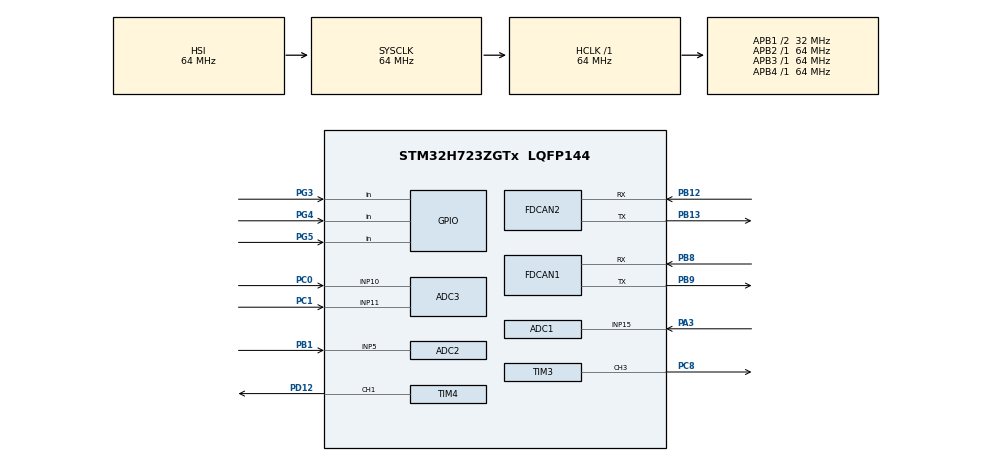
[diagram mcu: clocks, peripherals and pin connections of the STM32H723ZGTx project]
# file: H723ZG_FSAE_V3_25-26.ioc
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ADC1.Channel-0\#ChannelRegularConversion=ADC_CHANNEL_15
ADC1.ClockPrescaler=ADC_CLOCK_ASYNC_DIV12
ADC1.ContinuousConvMode=ENABLE
ADC1.ConversionDataManagement=ADC_CONVERSIONDATA_DMA_CIRCULAR
ADC1.NbrOfConversionFlag=1
ADC1.OffsetNumber-0\#ChannelRegularConversion=ADC_OFFSET_NONE
ADC1.OffsetSignedSaturation-0\#ChannelRegularConversion=DISABLE
ADC1.Rank-0\#ChannelRegularConversion=1
ADC1.Resolution=ADC_RESOLUTION_16B
ADC1.SamplingTime-0\#ChannelRegularConversion=ADC_SAMPLETIME_387CYCLES_5
ADC1.master=1
ADC2.Channel-0\#ChannelRegularConversion=ADC_CHANNEL_5
ADC2.ClockPrescaler=ADC_CLOCK_ASYNC_DIV12
ADC2.ContinuousConvMode=ENABLE
ADC2.ConversionDataManagement=ADC_CONVERSIONDATA_DMA_CIRCULAR
ADC2.NbrOfConversion=1
ADC2.NbrOfConversionFlag=1
ADC2.OffsetNumber-0\#ChannelRegularConversion=ADC_OFFSET_NONE
ADC2.OffsetSignedSaturation-0\#ChannelRegularConversion=DISABLE
ADC2.Rank-0\#ChannelRegularConversion=1
ADC2.Resolution=ADC_RESOLUTION_16B
ADC2.SamplingTime-0\#ChannelRegularConversion=ADC_SAMPLETIME_387CYCLES_5
ADC3.Channel-0\#ChannelRegularConversion=ADC_CHANNEL_10
ADC3.Channel-1\#ChannelRegularConversion=ADC_CHANNEL_11
ADC3.ClockPrescaler=ADC_CLOCK_ASYNC_DIV12
ADC3.ContinuousConvMode=ENABLE
ADC3.ConversionDataManagement=ADC_CONVERSIONDATA_DMA_CIRCULAR
ADC3.DMAContinuousRequests=ENABLE
ADC3.NbrOfConversion=2
ADC3.NbrOfConversionFlag=1
ADC3.OffsetNumber-0\#ChannelRegularConversion=ADC_OFFSET_NONE
ADC3.OffsetNumber-1\#ChannelRegularConversion=ADC_OFFSET_NONE
ADC3.OffsetSign-0\#ChannelRegularConversion=ADC3_OFFSET_SIGN_NEGATIVE
ADC3.OffsetSign-1\#ChannelRegularConversion=ADC3_OFFSET_SIGN_NEGATIVE
ADC3.Rank-0\#ChannelRegularConversion=1
ADC3.Rank-1\#ChannelRegularConversion=2
ADC3.SamplingTime-0\#ChannelRegularConversion=ADC3_SAMPLETIME_640CYCLES_5
ADC3.SamplingTime-1\#ChannelRegularConversion=ADC3_SAMPLETIME_640CYCLES_5
CORTEX_M7.default_mode_Activation=1
Dma.ADC1.0.Direction=DMA_PERIPH_TO_MEMORY
Dma.ADC1.0.EventEnable=DISABLE
Dma.ADC1.0.FIFOMode=DMA_FIFOMODE_DISABLE
Dma.ADC1.0.Instance=DMA1_Stream0
Dma.ADC1.0.MemDataAlignment=DMA_MDATAALIGN_HALFWORD
Dma.ADC1.0.MemInc=DMA_MINC_ENABLE
Dma.ADC1.0.Mode=DMA_CIRCULAR
Dma.ADC1.0.PeriphDataAlignment=DMA_PDATAALIGN_HALFWORD
Dma.ADC1.0.PeriphInc=DMA_PINC_DISABLE
Dma.ADC1.0.Polarity=HAL_DMAMUX_REQ_GEN_RISING
Dma.ADC1.0.Priority=DMA_PRIORITY_LOW
Dma.ADC1.0.RequestNumber=1
Dma.ADC1.0.SignalID=NONE
Dma.ADC1.0.SyncEnable=DISABLE
Dma.ADC1.0.SyncPolarity=HAL_DMAMUX_SYNC_NO_EVENT
Dma.ADC1.0.SyncRequestNumber=1
Dma.ADC1.0.SyncSignalID=NONE
Dma.ADC2.1.Direction=DMA_PERIPH_TO_MEMORY
Dma.ADC2.1.EventEnable=DISABLE
Dma.ADC2.1.FIFOMode=DMA_FIFOMODE_DISABLE
Dma.ADC2.1.Instance=DMA1_Stream1
Dma.ADC2.1.MemDataAlignment=DMA_MDATAALIGN_HALFWORD
Dma.ADC2.1.MemInc=DMA_MINC_ENABLE
Dma.ADC2.1.Mode=DMA_CIRCULAR
Dma.ADC2.1.PeriphDataAlignment=DMA_PDATAALIGN_HALFWORD
Dma.ADC2.1.PeriphInc=DMA_PINC_DISABLE
Dma.ADC2.1.Polarity=HAL_DMAMUX_REQ_GEN_RISING
Dma.ADC2.1.Priority=DMA_PRIORITY_LOW
Dma.ADC2.1.RequestNumber=1
Dma.ADC2.1.SignalID=NONE
Dma.ADC2.1.SyncEnable=DISABLE
Dma.ADC2.1.SyncPolarity=HAL_DMAMUX_SYNC_NO_EVENT
Dma.ADC2.1.SyncRequestNumber=1
Dma.ADC2.1.SyncSignalID=NONE
Dma.ADC3.2.Direction=DMA_PERIPH_TO_MEMORY
Dma.ADC3.2.EventEnable=DISABLE
Dma.ADC3.2.FIFOMode=DMA_FIFOMODE_DISABLE
Dma.ADC3.2.Instance=DMA1_Stream2
Dma.ADC3.2.MemDataAlignment=DMA_MDATAALIGN_HALFWORD
Dma.ADC3.2.MemInc=DMA_MINC_ENABLE
Dma.ADC3.2.Mode=DMA_CIRCULAR
Dma.ADC3.2.PeriphDataAlignment=DMA_PDATAALIGN_HALFWORD
Dma.ADC3.2.PeriphInc=DMA_PINC_DISABLE
Dma.ADC3.2.Polarity=HAL_DMAMUX_REQ_GEN_RISING
Dma.ADC3.2.Priority=DMA_PRIORITY_LOW
Dma.ADC3.2.RequestNumber=1
Dma.ADC3.2.SignalID=NONE
Dma.ADC3.2.SyncEnable=DISABLE
Dma.ADC3.2.SyncPolarity=HAL_DMAMUX_SYNC_NO_EVENT
Dma.ADC3.2.SyncRequestNumber=1
Dma.ADC3.2.SyncSignalID=NONE
Dma.Request0=ADC1
Dma.Request1=ADC2
Dma.Request2=ADC3
FDCAN1.AutoRetransmission=ENABLE
FDCAN1.CalculateBaudRateNominal=500000
FDCAN1.CalculateTimeBitNominal=2000
FDCAN1.CalculateTimeQuantumNominal=125.0
FDCAN1.ExtFiltersNbr=1
FDCAN1.Mode=FDCAN_MODE_NORMAL
FDCAN1.NominalPrescaler=6
FDCAN1.NominalSyncJumpWidth=13
FDCAN1.NominalTimeSeg1=12
FDCAN1.NominalTimeSeg2=3
FDCAN1.RxFifo0ElmtsNbr=8
FDCAN1.RxFifo1ElmtsNbr=8
FDCAN1.StdFiltersNbr=1
FDCAN1.TxFifoQueueElmtsNbr=8
FDCAN2.AutoRetransmission=ENABLE
FDCAN2.CalculateBaudRateNominal=500000
FDCAN2.CalculateTimeBitNominal=2000
FDCAN2.CalculateTimeQuantumNominal=125.0
FDCAN2.MessageRAMOffset=1920
FDCAN2.Mode=FDCAN_MODE_NORMAL
FDCAN2.NominalPrescaler=6
FDCAN2.NominalSyncJumpWidth=13
FDCAN2.NominalTimeSeg1=12
FDCAN2.NominalTimeSeg2=3
FDCAN2.RxFifo0ElmtsNbr=8
FDCAN2.RxFifo1ElmtsNbr=8
FDCAN2.StdFiltersNbr=1
FDCAN2.TxFifoQueueElmtsNbr=8
Mcu.Family=STM32H7
Mcu.Name=STM32H723ZGTx
Mcu.Package=LQFP144
NUCLEO-H723ZG.VCP=true
NVIC.DMA1_Stream0_IRQn=true\:0\:0\:false\:false\:true\:false\:true\:true
NVIC.DMA1_Stream1_IRQn=true\:0\:0\:false\:false\:true\:false\:true\:true
NVIC.DMA1_Stream2_IRQn=true\:0\:0\:false\:false\:true\:false\:true\:true
NVIC.FDCAN1_IT0_IRQn=true\:0\:0\:false\:false\:true\:true\:true\:true
NVIC.FDCAN1_IT1_IRQn=true\:0\:0\:false\:false\:true\:true\:true\:true
NVIC.FDCAN2_IT0_IRQn=true\:0\:0\:false\:false\:true\:true\:true\:true
NVIC.FDCAN2_IT1_IRQn=true\:0\:0\:false\:false\:true\:true\:true\:true
NVIC.PriorityGroup=NVIC_PRIORITYGROUP_4
PA13(JTMS/SWDIO).GPIO_Label=SWDIO
PA13(JTMS/SWDIO).Signal=DEBUG_JTMS-SWDIO
PA14(JTCK/SWCLK).GPIO_Label=SWCLK
PA14(JTCK/SWCLK).Signal=DEBUG_JTCK-SWCLK
PA3.GPIO_Pd=GPIO_PULLDOWN
PA3.Signal=ADCx_INP15
PB1.GPIO_Pd=GPIO_PULLDOWN
PB1.Signal=ADCx_INP5
PB12.Mode=FDCAN_Activate
PB12.Signal=FDCAN2_RX
PB13.Mode=FDCAN_Activate
PB13.Signal=FDCAN2_TX
PB8.Mode=FDCAN_Activate
PB8.Signal=FDCAN1_RX
PB9.Mode=FDCAN_Activate
PB9.Signal=FDCAN1_TX
PC0.GPIO_Pd=GPIO_PULLDOWN
PC0.Signal=ADCx_INP10
PC1.GPIO_Pd=GPIO_PULLDOWN
PC1.Signal=ADCx_INP11
PC14-OSC32_IN.Signal=RCC_OSC32_IN
PC15-OSC32_OUT.Signal=RCC_OSC32_OUT
PC8.Signal=S_TIM3_CH3
PD12.Signal=S_TIM4_CH1
PD8.Signal=USART3_TX
PD9.Signal=USART3_RX
PG3.Signal=GPIO_Input
PG4.Signal=GPIO_Input
PG5.Signal=GPIO_Input
PH0-OSC_IN.Mode=HSE-External-Oscillator
PH0-OSC_IN.Signal=RCC_OSC_IN
PH1-OSC_OUT.Mode=HSE-External-Oscillator
PH1-OSC_OUT.Signal=RCC_OSC_OUT
ProjectManager.HeapSize=0x200
ProjectManager.StackSize=0x400
ProjectManager.TargetToolchain=CMake
RCC.ADCFreq_Value=38400000
RCC.APB1Freq_Value=32000000
RCC.APB2Freq_Value=64000000
RCC.APB3Freq_Value=64000000
RCC.APB4Freq_Value=64000000
RCC.CortexFreq_Value=64000000
RCC.D2PPRE1=RCC_APB1_DIV2
RCC.DIVM1=4
RCC.DIVM2=4
RCC.DIVN1=12
RCC.DIVN2=12
RCC.DIVP1=1
RCC.DIVP2=5
RCC.DIVQ1=4
RCC.HCLKFreq_Value=64000000
RCC.HSE_VALUE=8000000
RCC.PLL2FRACN=0
RCC.PLLFRACN=0
RCC.SYSCLKFreq_VALUE=64000000
RCC.USBCLockSelection=RCC_USBCLKSOURCE_HSI48
RCC.USBFreq_Value=48000000
SH.ADCx_INP10.0=ADC3_INP10,IN10-Single-Ended
SH.ADCx_INP11.0=ADC3_INP11,IN11-Single-Ended
SH.ADCx_INP15.0=ADC1_INP15,IN15-Single-Ended
SH.ADCx_INP5.0=ADC2_INP5,IN5-Single-Ended
SH.S_TIM3_CH3.0=TIM3_CH3,PWM Generation3 CH3
SH.S_TIM4_CH1.0=TIM4_CH1,PWM Generation1 CH1
TIM3.AutoReloadPreload=TIM_AUTORELOAD_PRELOAD_ENABLE
TIM3.Channel-PWM\ Generation3\ CH3=TIM_CHANNEL_3
TIM4.AutoReloadPreload=TIM_AUTORELOAD_PRELOAD_ENABLE
TIM4.Channel-PWM\ Generation1\ CH1=TIM_CHANNEL_1
VP_MEMORYMAP_VS_MEMORYMAP.Mode=CurAppReg
VP_NUCLEO-H723ZG_VS_BSP_COMMON.Mode=COMMON
VP_TIM3_VS_ClockSourceINT.Mode=Internal
VP_TIM4_VS_ClockSourceINT.Mode=Internal
board=NUCLEO-H723ZG

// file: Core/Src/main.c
/* USER CODE BEGIN Header */
/**
  ******************************************************************************
  * @file           : main.c
  * @brief          : Main program body
  ******************************************************************************
  * @attention
  *
  * Copyright (c) 2026 STMicroelectronics.
  * All rights reserved.
  *
  * This software is licensed under terms that can be found in the LICENSE file
  * in the root directory of this software component.
  * If no LICENSE file comes with this software, it is provided AS-IS.
  *
  ******************************************************************************
  */
/* USER CODE END Header */
#include "main.h"

/* USER CODE BEGIN Includes */
#include <string.h>
#include "stdbool.h"
/* USER CODE END Includes */

/* USER CODE BEGIN PD */
#define BUFFER_LEN 16

#define DATA_LEN 8
#define BUTTONS_LEN 1

#define BUFFER_BTNS_LEN 16

#define LED_LEN 5
//#define FAULTS_IND_BMS 1
//#define FAULTS_ID_BMS 0x04
#define FAULTS_IND_INV 4
#define FAULTS_ID_INV 0x454

#define LED_ID 0x06
#define GENERIC_ID 0x00
#define READYTODRIVE_ID_TX 0x195

//#define FAULTS_CODE_BMS 4
#define FAULTS_CODE_INV 3

#define DRIVEENABLE_BUTT_IND 2
#define DRIVEENABLE_LEN 1
#define DRIVEENABLE_ID 0x195

#define INTERVAL 50
#define INTERVAL1 0

#define INTERVAL_DRIVEENABLE 150
#define PERCENTAGE_DRIVEENABLE 20
#define IND_DRIVEENABLE 3

/* USER CODE END PD */

COM_InitTypeDef BspCOMInit;
ADC_HandleTypeDef hadc1;
ADC_HandleTypeDef hadc2;
ADC_HandleTypeDef hadc3;
DMA_HandleTypeDef hdma_adc1;
DMA_HandleTypeDef hdma_adc2;
DMA_HandleTypeDef hdma_adc3;

FDCAN_HandleTypeDef hfdcan1;
FDCAN_HandleTypeDef hfdcan2;

TIM_HandleTypeDef htim3;
TIM_HandleTypeDef htim4;

/* USER CODE BEGIN PV */
FDCAN_TxHeaderTypeDef LEDTx;
FDCAN_TxHeaderTypeDef genericTx;
FDCAN_TxHeaderTypeDef ReadyToDriveTx;

FDCAN_RxHeaderTypeDef buttonsRx;
// ring buffer
typedef struct{
	FDCAN_RxHeaderTypeDef RxHeader;
	uint8_t data[8];
	bool flag;
	uint32_t hcount;
	uint32_t tcount;
}msg;

msg buffer[BUFFER_LEN];
uint32_t head = 0;
uint32_t tail = 0;

typedef struct {
	FDCAN_RxHeaderTypeDef RxHeader;
	uint8_t buttons[BUTTONS_LEN];
	bool flag;
} btns;

volatile uint32_t bhead =0;
volatile uint32_t btail =0;

btns bufferButtons[BUFFER_BTNS_LEN];

uint8_t generic[DATA_LEN];
uint8_t leds[LED_LEN];
uint8_t buttons[BUTTONS_LEN];

uint32_t prev = 0;
uint32_t prev1 =0;
uint32_t prev2 = 0;

volatile uint16_t adc1_val[1] = {0};
volatile uint16_t adc2_val[1] = {0};
volatile uint16_t adc3_val[2] = {0};

volatile uint8_t faultPin1 = 0;
volatile uint8_t faultPin2 = 0;
volatile uint8_t faultPin3 = 0;

volatile uint16_t thr1 = 0;
volatile uint16_t thr2 = 0;
volatile uint16_t brk1 = 0;
volatile uint16_t brk2 = 0;

uint8_t ReadyToDriveBit = 0b0;
bool flag =0;
uint8_t driveEnable[1] ={0};

/* USER CODE END PV */

void SystemClock_Config(void);
void PeriphCommonClock_Config(void);
static void MPU_Config(void);
static void MX_DMA_Init(void);
static void MX_GPIO_Init(void);
static void MX_ADC1_Init(void);
static void MX_ADC2_Init(void);
static void MX_ADC3_Init(void);
static void MX_FDCAN2_Init(void);
static void MX_FDCAN1_Init(void);
static void MX_TIM3_Init(void);
static void MX_TIM4_Init(void);

/* USER CODE BEGIN 0 */
void CAN_TX_Init(FDCAN_TxHeaderTypeDef* header, uint32_t can_id, uint32_t can_IdLen);
void FDCAN_Begin(FDCAN_HandleTypeDef* can,int num);
void Filter_Init(FDCAN_FilterTypeDef* filter, uint8_t can_IdLen);
bool bufferFull(msg buffer[16]);
void Write_RingBuffer(void);
void Read_RingBuffer(void);
void sort(msg msg);
void Write_RingBuffer_Buttons(void);
void Read_RingBuffer_Buttons(void);
void ReadyToDrive(void);
/* USER CODE END 0 */

int main(void)
{

  /* MPU Configuration--------------------------------------------------------*/
  MPU_Config();

  /* MCU Configuration--------------------------------------------------------*/

  /* Reset of all peripherals, Initializes the Flash interface and the Systick. */
  HAL_Init();

  /* Configure the system clock */
  SystemClock_Config();

  /* Configure the peripherals common clocks */
  PeriphCommonClock_Config();

  /* Initialize all configured peripherals */
  MX_DMA_Init();
  MX_GPIO_Init();
  MX_ADC1_Init();
  MX_ADC2_Init();
  MX_ADC3_Init();
  MX_FDCAN2_Init();
  MX_FDCAN1_Init();
  MX_TIM3_Init();
  MX_TIM4_Init();
  /* USER CODE BEGIN 2 */
  CAN_TX_Init(&LEDTx,LED_ID,11);
  CAN_TX_Init(&genericTx,GENERIC_ID,11);
  CAN_TX_Init(&ReadyToDriveTx,DRIVEENABLE_ID,11);

  HAL_TIM_PWM_Start(&htim3,TIM_CHANNEL_3);
  HAL_TIM_PWM_Start(&htim4,TIM_CHANNEL_1);

  	FDCAN_Begin(&hfdcan1,0);
  	FDCAN_Begin(&hfdcan2,0);

  	  HAL_ADC_Start_DMA(&hadc1, (uint32_t*)adc1_val, 1);
  	  HAL_ADC_Start_DMA(&hadc2, (uint32_t*)adc2_val, 1);
  	  HAL_ADC_Start_DMA(&hadc3, (uint32_t*)adc3_val, 2);

  	for(int i =0; i < 16; i++){
  		buffer[i].hcount =0;
  		buffer[i].tcount =0;
  	}

  	TIM3->CCR3 = 32768;
  	TIM4->CCR1 = 32768;
  /* USER CODE END 2 */

  /* Initialize COM1 port (115200, 8 bits (7-bit data + 1 stop bit), no parity */
  BspCOMInit.BaudRate   = 115200;
  BspCOMInit.WordLength = COM_WORDLENGTH_8B;
  BspCOMInit.StopBits   = COM_STOPBITS_1;
  BspCOMInit.Parity     = COM_PARITY_NONE;
  BspCOMInit.HwFlowCtl  = COM_HWCONTROL_NONE;
  if (BSP_COM_Init(COM1, &BspCOMInit) != BSP_ERROR_NONE)
  {
    Error_Handler();
  }

  /* Infinite loop */
  /* USER CODE BEGIN WHILE */
  while (1)
  {

	  if (HAL_GPIO_ReadPin(GPIOG, GPIO_PIN_5) == GPIO_PIN_SET){
		  faultPin1 = 1;
	  }else faultPin1 = 0;

	  if (HAL_GPIO_ReadPin(GPIOG, GPIO_PIN_5) == GPIO_PIN_SET){
		  faultPin2 = 1;
	  }else faultPin2 = 0;

	  if (HAL_GPIO_ReadPin(GPIOG, GPIO_PIN_5) == GPIO_PIN_SET){
		  faultPin3 = 1;
	  }else faultPin3 = 0;

	  Read_RingBuffer_Buttons();

	  thr1 = (adc1_val[0] * 100) / 65535;
	  thr1 = (adc2_val[0] * 100) / 65535;
	  brk1 = (adc3_val[0] * 100) / 4095;
	  brk2 = (adc3_val[1] * 100) / 4095;

	  ReadyToDrive();

	  Read_RingBuffer();

	  if((HAL_GetTick() - prev) >= INTERVAL){
	  		 		  if(HAL_FDCAN_AddMessageToTxFifoQ(&hfdcan2, &LEDTx, leds) != HAL_OK)
	  		 			  Error_Handler();

	  		 	  prev = HAL_GetTick();
	  		 	 }

	  if(HAL_GetTick()- prev1 >= INTERVAL1){
		  if(HAL_FDCAN_AddMessageToTxFifoQ(&hfdcan2, &genericTx, generic) != HAL_OK)
	  		  Error_Handler();
		  prev1 = HAL_GetTick();
	  }

    /* USER CODE END WHILE */

  }
}

void SystemClock_Config(void)
{
  RCC_OscInitTypeDef RCC_OscInitStruct = {0};
  RCC_ClkInitTypeDef RCC_ClkInitStruct = {0};

  /** Supply configuration update enable
  */
  HAL_PWREx_ConfigSupply(PWR_LDO_SUPPLY);

  /** Configure the main internal regulator output voltage
  */
  __HAL_PWR_VOLTAGESCALING_CONFIG(PWR_REGULATOR_VOLTAGE_SCALE3);

  while(!__HAL_PWR_GET_FLAG(PWR_FLAG_VOSRDY)) {}

  /** Initializes the RCC Oscillators according to the specified parameters
  * in the RCC_OscInitTypeDef structure.
  */
  RCC_OscInitStruct.OscillatorType = RCC_OSCILLATORTYPE_HSI;
  RCC_OscInitStruct.HSIState = RCC_HSI_DIV1;
  RCC_OscInitStruct.HSICalibrationValue = 64;
  RCC_OscInitStruct.PLL.PLLState = RCC_PLL_ON;
  RCC_OscInitStruct.PLL.PLLSource = RCC_PLLSOURCE_HSI;
  RCC_OscInitStruct.PLL.PLLM = 4;
  RCC_OscInitStruct.PLL.PLLN = 12;
  RCC_OscInitStruct.PLL.PLLP = 1;
  RCC_OscInitStruct.PLL.PLLQ = 4;
  RCC_OscInitStruct.PLL.PLLR = 2;
  RCC_OscInitStruct.PLL.PLLRGE = RCC_PLL1VCIRANGE_3;
  RCC_OscInitStruct.PLL.PLLVCOSEL = RCC_PLL1VCOWIDE;
  RCC_OscInitStruct.PLL.PLLFRACN = 0;
  if (HAL_RCC_OscConfig(&RCC_OscInitStruct) != HAL_OK)
  {
    Error_Handler();
  }

  /** Initializes the CPU, AHB and APB buses clocks
  */
  RCC_ClkInitStruct.ClockType = RCC_CLOCKTYPE_HCLK|RCC_CLOCKTYPE_SYSCLK
                              |RCC_CLOCKTYPE_PCLK1|RCC_CLOCKTYPE_PCLK2
                              |RCC_CLOCKTYPE_D3PCLK1|RCC_CLOCKTYPE_D1PCLK1;
  RCC_ClkInitStruct.SYSCLKSource = RCC_SYSCLKSOURCE_HSI;
  RCC_ClkInitStruct.SYSCLKDivider = RCC_SYSCLK_DIV1;
  RCC_ClkInitStruct.AHBCLKDivider = RCC_HCLK_DIV1;
  RCC_ClkInitStruct.APB3CLKDivider = RCC_APB3_DIV1;
  RCC_ClkInitStruct.APB1CLKDivider = RCC_APB1_DIV2;
  RCC_ClkInitStruct.APB2CLKDivider = RCC_APB2_DIV1;
  RCC_ClkInitStruct.APB4CLKDivider = RCC_APB4_DIV1;

  if (HAL_RCC_ClockConfig(&RCC_ClkInitStruct, FLASH_LATENCY_1) != HAL_OK)
  {
    Error_Handler();
  }
}

void PeriphCommonClock_Config(void)
{
  RCC_PeriphCLKInitTypeDef PeriphClkInitStruct = {0};

  /** Initializes the peripherals clock
  */
  PeriphClkInitStruct.PeriphClockSelection = RCC_PERIPHCLK_ADC;
  PeriphClkInitStruct.PLL2.PLL2M = 4;
  PeriphClkInitStruct.PLL2.PLL2N = 12;
  PeriphClkInitStruct.PLL2.PLL2P = 5;
  PeriphClkInitStruct.PLL2.PLL2Q = 2;
  PeriphClkInitStruct.PLL2.PLL2R = 2;
  PeriphClkInitStruct.PLL2.PLL2RGE = RCC_PLL2VCIRANGE_3;
  PeriphClkInitStruct.PLL2.PLL2VCOSEL = RCC_PLL2VCOWIDE;
  PeriphClkInitStruct.PLL2.PLL2FRACN = 0;
  PeriphClkInitStruct.AdcClockSelection = RCC_ADCCLKSOURCE_PLL2;
  if (HAL_RCCEx_PeriphCLKConfig(&PeriphClkInitStruct) != HAL_OK)
  {
    Error_Handler();
  }
}

static void MX_ADC1_Init(void)
{

  ADC_MultiModeTypeDef multimode = {0};
  ADC_ChannelConfTypeDef sConfig = {0};

  /** Common config
  */
  hadc1.Instance = ADC1;
  hadc1.Init.ClockPrescaler = ADC_CLOCK_ASYNC_DIV12;
  hadc1.Init.Resolution = ADC_RESOLUTION_16B;
  hadc1.Init.ScanConvMode = ADC_SCAN_DISABLE;
  hadc1.Init.EOCSelection = ADC_EOC_SINGLE_CONV;
  hadc1.Init.LowPowerAutoWait = DISABLE;
  hadc1.Init.ContinuousConvMode = ENABLE;
  hadc1.Init.NbrOfConversion = 1;
  hadc1.Init.DiscontinuousConvMode = DISABLE;
  hadc1.Init.ExternalTrigConv = ADC_SOFTWARE_START;
  hadc1.Init.ExternalTrigConvEdge = ADC_EXTERNALTRIGCONVEDGE_NONE;
  hadc1.Init.ConversionDataManagement = ADC_CONVERSIONDATA_DMA_CIRCULAR;
  hadc1.Init.Overrun = ADC_OVR_DATA_PRESERVED;
  hadc1.Init.LeftBitShift = ADC_LEFTBITSHIFT_NONE;
  hadc1.Init.OversamplingMode = DISABLE;
  hadc1.Init.Oversampling.Ratio = 1;
  if (HAL_ADC_Init(&hadc1) != HAL_OK)
  {
    Error_Handler();
  }

  /** Configure the ADC multi-mode
  */
  multimode.Mode = ADC_MODE_INDEPENDENT;
  if (HAL_ADCEx_MultiModeConfigChannel(&hadc1, &multimode) != HAL_OK)
  {
    Error_Handler();
  }

  /** Configure Regular Channel
  */
  sConfig.Channel = ADC_CHANNEL_15;
  sConfig.Rank = ADC_REGULAR_RANK_1;
  sConfig.SamplingTime = ADC_SAMPLETIME_387CYCLES_5;
  sConfig.SingleDiff = ADC_SINGLE_ENDED;
  sConfig.OffsetNumber = ADC_OFFSET_NONE;
  sConfig.Offset = 0;
  sConfig.OffsetSignedSaturation = DISABLE;
  if (HAL_ADC_ConfigChannel(&hadc1, &sConfig) != HAL_OK)
  {
    Error_Handler();
  }

}

static void MX_ADC2_Init(void)
{

  ADC_ChannelConfTypeDef sConfig = {0};

  /** Common config
  */
  hadc2.Instance = ADC2;
  hadc2.Init.ClockPrescaler = ADC_CLOCK_ASYNC_DIV12;
  hadc2.Init.Resolution = ADC_RESOLUTION_16B;
  hadc2.Init.ScanConvMode = ADC_SCAN_DISABLE;
  hadc2.Init.EOCSelection = ADC_EOC_SINGLE_CONV;
  hadc2.Init.LowPowerAutoWait = DISABLE;
  hadc2.Init.ContinuousConvMode = ENABLE;
  hadc2.Init.NbrOfConversion = 1;
  hadc2.Init.DiscontinuousConvMode = DISABLE;
  hadc2.Init.ExternalTrigConv = ADC_SOFTWARE_START;
  hadc2.Init.ExternalTrigConvEdge = ADC_EXTERNALTRIGCONVEDGE_NONE;
  hadc2.Init.ConversionDataManagement = ADC_CONVERSIONDATA_DMA_CIRCULAR;
  hadc2.Init.Overrun = ADC_OVR_DATA_PRESERVED;
  hadc2.Init.LeftBitShift = ADC_LEFTBITSHIFT_NONE;
  hadc2.Init.OversamplingMode = DISABLE;
  hadc2.Init.Oversampling.Ratio = 1;
  if (HAL_ADC_Init(&hadc2) != HAL_OK)
  {
    Error_Handler();
  }

  /** Configure Regular Channel
  */
  sConfig.Channel = ADC_CHANNEL_5;
  sConfig.Rank = ADC_REGULAR_RANK_1;
  sConfig.SamplingTime = ADC_SAMPLETIME_387CYCLES_5;
  sConfig.SingleDiff = ADC_SINGLE_ENDED;
  sConfig.OffsetNumber = ADC_OFFSET_NONE;
  sConfig.Offset = 0;
  sConfig.OffsetSignedSaturation = DISABLE;
  if (HAL_ADC_ConfigChannel(&hadc2, &sConfig) != HAL_OK)
  {
    Error_Handler();
  }

}

static void MX_ADC3_Init(void)
{

  ADC_ChannelConfTypeDef sConfig = {0};

  /** Common config
  */
  hadc3.Instance = ADC3;
  hadc3.Init.ClockPrescaler = ADC_CLOCK_ASYNC_DIV1;
  hadc3.Init.Resolution = ADC_RESOLUTION_12B;
  hadc3.Init.DataAlign = ADC3_DATAALIGN_RIGHT;
  hadc3.Init.ScanConvMode = ADC_SCAN_ENABLE;
  hadc3.Init.EOCSelection = ADC_EOC_SINGLE_CONV;
  hadc3.Init.LowPowerAutoWait = DISABLE;
  hadc3.Init.ContinuousConvMode = ENABLE;
  hadc3.Init.NbrOfConversion = 2;
  hadc3.Init.DiscontinuousConvMode = DISABLE;
  hadc3.Init.ExternalTrigConv = ADC_SOFTWARE_START;
  hadc3.Init.ExternalTrigConvEdge = ADC_EXTERNALTRIGCONVEDGE_NONE;
  hadc3.Init.DMAContinuousRequests = ENABLE;
  hadc3.Init.SamplingMode = ADC_SAMPLING_MODE_NORMAL;
  hadc3.Init.ConversionDataManagement = ADC_CONVERSIONDATA_DMA_CIRCULAR;
  hadc3.Init.Overrun = ADC_OVR_DATA_PRESERVED;
  hadc3.Init.LeftBitShift = ADC_LEFTBITSHIFT_NONE;
  hadc3.Init.OversamplingMode = DISABLE;
  hadc3.Init.Oversampling.Ratio = ADC3_OVERSAMPLING_RATIO_2;
  if (HAL_ADC_Init(&hadc3) != HAL_OK)
  {
    Error_Handler();
  }

  /** Configure Regular Channel
  */
  sConfig.Channel = ADC_CHANNEL_10;
  sConfig.Rank = ADC_REGULAR_RANK_1;
  sConfig.SamplingTime = ADC3_SAMPLETIME_640CYCLES_5;
  sConfig.SingleDiff = ADC_SINGLE_ENDED;
  sConfig.OffsetNumber = ADC_OFFSET_NONE;
  sConfig.Offset = 0;
  sConfig.OffsetSign = ADC3_OFFSET_SIGN_NEGATIVE;
  if (HAL_ADC_ConfigChannel(&hadc3, &sConfig) != HAL_OK)
  {
    Error_Handler();
  }

  /** Configure Regular Channel
  */
  sConfig.Channel = ADC_CHANNEL_11;
  sConfig.Rank = ADC_REGULAR_RANK_2;
  if (HAL_ADC_ConfigChannel(&hadc3, &sConfig) != HAL_OK)
  {
    Error_Handler();
  }

}

static void MX_FDCAN1_Init(void)
{

  hfdcan1.Instance = FDCAN1;
  hfdcan1.Init.FrameFormat = FDCAN_FRAME_CLASSIC;
  hfdcan1.Init.Mode = FDCAN_MODE_NORMAL;
  hfdcan1.Init.AutoRetransmission = ENABLE;
  hfdcan1.Init.TransmitPause = DISABLE;
  hfdcan1.Init.ProtocolException = DISABLE;
  hfdcan1.Init.NominalPrescaler = 6;
  hfdcan1.Init.NominalSyncJumpWidth = 13;
  hfdcan1.Init.NominalTimeSeg1 = 12;
  hfdcan1.Init.NominalTimeSeg2 = 3;
  hfdcan1.Init.DataPrescaler = 1;
  hfdcan1.Init.DataSyncJumpWidth = 1;
  hfdcan1.Init.DataTimeSeg1 = 1;
  hfdcan1.Init.DataTimeSeg2 = 1;
  hfdcan1.Init.MessageRAMOffset = 0;
  hfdcan1.Init.StdFiltersNbr = 1;
  hfdcan1.Init.ExtFiltersNbr = 1;
  hfdcan1.Init.RxFifo0ElmtsNbr = 8;
  hfdcan1.Init.RxFifo0ElmtSize = FDCAN_DATA_BYTES_8;
  hfdcan1.Init.RxFifo1ElmtsNbr = 8;
  hfdcan1.Init.RxFifo1ElmtSize = FDCAN_DATA_BYTES_8;
  hfdcan1.Init.RxBuffersNbr = 0;
  hfdcan1.Init.RxBufferSize = FDCAN_DATA_BYTES_8;
  hfdcan1.Init.TxEventsNbr = 0;
  hfdcan1.Init.TxBuffersNbr = 0;
  hfdcan1.Init.TxFifoQueueElmtsNbr = 8;
  hfdcan1.Init.TxFifoQueueMode = FDCAN_TX_FIFO_OPERATION;
  hfdcan1.Init.TxElmtSize = FDCAN_DATA_BYTES_8;
  if (HAL_FDCAN_Init(&hfdcan1) != HAL_OK)
  {
    Error_Handler();
  }

}

static void MX_FDCAN2_Init(void)
{

  hfdcan2.Instance = FDCAN2;
  hfdcan2.Init.FrameFormat = FDCAN_FRAME_CLASSIC;
  hfdcan2.Init.Mode = FDCAN_MODE_NORMAL;
  hfdcan2.Init.AutoRetransmission = ENABLE;
  hfdcan2.Init.TransmitPause = DISABLE;
  hfdcan2.Init.ProtocolException = DISABLE;
  hfdcan2.Init.NominalPrescaler = 6;
  hfdcan2.Init.NominalSyncJumpWidth = 13;
  hfdcan2.Init.NominalTimeSeg1 = 12;
  hfdcan2.Init.NominalTimeSeg2 = 3;
  hfdcan2.Init.DataPrescaler = 1;
  hfdcan2.Init.DataSyncJumpWidth = 1;
  hfdcan2.Init.DataTimeSeg1 = 1;
  hfdcan2.Init.DataTimeSeg2 = 1;
  hfdcan2.Init.MessageRAMOffset = 1920;
  hfdcan2.Init.StdFiltersNbr = 1;
  hfdcan2.Init.ExtFiltersNbr = 0;
  hfdcan2.Init.RxFifo0ElmtsNbr = 8;
  hfdcan2.Init.RxFifo0ElmtSize = FDCAN_DATA_BYTES_8;
  hfdcan2.Init.RxFifo1ElmtsNbr = 8;
  hfdcan2.Init.RxFifo1ElmtSize = FDCAN_DATA_BYTES_8;
  hfdcan2.Init.RxBuffersNbr = 0;
  hfdcan2.Init.RxBufferSize = FDCAN_DATA_BYTES_8;
  hfdcan2.Init.TxEventsNbr = 0;
  hfdcan2.Init.TxBuffersNbr = 0;
  hfdcan2.Init.TxFifoQueueElmtsNbr = 8;
  hfdcan2.Init.TxFifoQueueMode = FDCAN_TX_FIFO_OPERATION;
  hfdcan2.Init.TxElmtSize = FDCAN_DATA_BYTES_8;
  if (HAL_FDCAN_Init(&hfdcan2) != HAL_OK)
  {
    Error_Handler();
  }

}

static void MX_TIM3_Init(void)
{

  TIM_ClockConfigTypeDef sClockSourceConfig = {0};
  TIM_MasterConfigTypeDef sMasterConfig = {0};
  TIM_OC_InitTypeDef sConfigOC = {0};

  htim3.Instance = TIM3;
  htim3.Init.Prescaler = 0;
  htim3.Init.CounterMode = TIM_COUNTERMODE_UP;
  htim3.Init.Period = 65535;
  htim3.Init.ClockDivision = TIM_CLOCKDIVISION_DIV1;
  htim3.Init.AutoReloadPreload = TIM_AUTORELOAD_PRELOAD_ENABLE;
  if (HAL_TIM_Base_Init(&htim3) != HAL_OK)
  {
    Error_Handler();
  }
  sClockSourceConfig.ClockSource = TIM_CLOCKSOURCE_INTERNAL;
  if (HAL_TIM_ConfigClockSource(&htim3, &sClockSourceConfig) != HAL_OK)
  {
    Error_Handler();
  }
  if (HAL_TIM_PWM_Init(&htim3) != HAL_OK)
  {
    Error_Handler();
  }
  sMasterConfig.MasterOutputTrigger = TIM_TRGO_RESET;
  sMasterConfig.MasterSlaveMode = TIM_MASTERSLAVEMODE_DISABLE;
  if (HAL_TIMEx_MasterConfigSynchronization(&htim3, &sMasterConfig) != HAL_OK)
  {
    Error_Handler();
  }
  sConfigOC.OCMode = TIM_OCMODE_PWM1;
  sConfigOC.Pulse = 0;
  sConfigOC.OCPolarity = TIM_OCPOLARITY_HIGH;
  sConfigOC.OCFastMode = TIM_OCFAST_DISABLE;
  if (HAL_TIM_PWM_ConfigChannel(&htim3, &sConfigOC, TIM_CHANNEL_3) != HAL_OK)
  {
    Error_Handler();
  }
  HAL_TIM_MspPostInit(&htim3);

}

static void MX_TIM4_Init(void)
{

  TIM_ClockConfigTypeDef sClockSourceConfig = {0};
  TIM_MasterConfigTypeDef sMasterConfig = {0};
  TIM_OC_InitTypeDef sConfigOC = {0};

  htim4.Instance = TIM4;
  htim4.Init.Prescaler = 0;
  htim4.Init.CounterMode = TIM_COUNTERMODE_UP;
  htim4.Init.Period = 65535;
  htim4.Init.ClockDivision = TIM_CLOCKDIVISION_DIV1;
  htim4.Init.AutoReloadPreload = TIM_AUTORELOAD_PRELOAD_ENABLE;
  if (HAL_TIM_Base_Init(&htim4) != HAL_OK)
  {
    Error_Handler();
  }
  sClockSourceConfig.ClockSource = TIM_CLOCKSOURCE_INTERNAL;
  if (HAL_TIM_ConfigClockSource(&htim4, &sClockSourceConfig) != HAL_OK)
  {
    Error_Handler();
  }
  if (HAL_TIM_PWM_Init(&htim4) != HAL_OK)
  {
    Error_Handler();
  }
  sMasterConfig.MasterOutputTrigger = TIM_TRGO_RESET;
  sMasterConfig.MasterSlaveMode = TIM_MASTERSLAVEMODE_DISABLE;
  if (HAL_TIMEx_MasterConfigSynchronization(&htim4, &sMasterConfig) != HAL_OK)
  {
    Error_Handler();
  }
  sConfigOC.OCMode = TIM_OCMODE_PWM1;
  sConfigOC.Pulse = 0;
  sConfigOC.OCPolarity = TIM_OCPOLARITY_HIGH;
  sConfigOC.OCFastMode = TIM_OCFAST_DISABLE;
  if (HAL_TIM_PWM_ConfigChannel(&htim4, &sConfigOC, TIM_CHANNEL_1) != HAL_OK)
  {
    Error_Handler();
  }
  HAL_TIM_MspPostInit(&htim4);

}

static void MX_DMA_Init(void)
{

  /* DMA controller clock enable */
  __HAL_RCC_DMA1_CLK_ENABLE();

  /* DMA interrupt init */
  /* DMA1_Stream0_IRQn interrupt configuration */
  HAL_NVIC_SetPriority(DMA1_Stream0_IRQn, 0, 0);
  HAL_NVIC_EnableIRQ(DMA1_Stream0_IRQn);
  /* DMA1_Stream1_IRQn interrupt configuration */
  HAL_NVIC_SetPriority(DMA1_Stream1_IRQn, 0, 0);
  HAL_NVIC_EnableIRQ(DMA1_Stream1_IRQn);
  /* DMA1_Stream2_IRQn interrupt configuration */
  HAL_NVIC_SetPriority(DMA1_Stream2_IRQn, 0, 0);
  HAL_NVIC_EnableIRQ(DMA1_Stream2_IRQn);

}

static void MX_GPIO_Init(void)
{
  GPIO_InitTypeDef GPIO_InitStruct = {0};

  /* GPIO Ports Clock Enable */
  __HAL_RCC_GPIOC_CLK_ENABLE();
  __HAL_RCC_GPIOH_CLK_ENABLE();
  __HAL_RCC_GPIOA_CLK_ENABLE();
  __HAL_RCC_GPIOB_CLK_ENABLE();
  __HAL_RCC_GPIOD_CLK_ENABLE();
  __HAL_RCC_GPIOG_CLK_ENABLE();

  /*Configure GPIO pins : PG3 PG4 PG5 */
  GPIO_InitStruct.Pin = GPIO_PIN_3|GPIO_PIN_4|GPIO_PIN_5;
  GPIO_InitStruct.Mode = GPIO_MODE_INPUT;
  GPIO_InitStruct.Pull = GPIO_NOPULL;
  HAL_GPIO_Init(GPIOG, &GPIO_InitStruct);

}

/* USER CODE BEGIN 4 */
void CAN_TX_Init(FDCAN_TxHeaderTypeDef* header, uint32_t can_id, uint32_t can_IdLen){

	header->Identifier = can_id;

	if(can_IdLen == 11){
		header->IdType = FDCAN_STANDARD_ID;
	} else if(can_IdLen == 29){
		header->IdType = FDCAN_EXTENDED_ID;
	}

	header->TxFrameType = FDCAN_DATA_FRAME;
	header->DataLength = FDCAN_DLC_BYTES_8;
	header->ErrorStateIndicator = FDCAN_ESI_ACTIVE;
	header->BitRateSwitch = FDCAN_BRS_OFF;
	header->FDFormat = FDCAN_CLASSIC_CAN;
	header->TxEventFifoControl = FDCAN_NO_TX_EVENTS;
	header->MessageMarker = 0;
}

void FDCAN_Begin(FDCAN_HandleTypeDef* can, int num){

	 if(HAL_FDCAN_Start(can) != HAL_OK)
	  	 Error_Handler();
	 if(num == 0){
	 	 if (HAL_FDCAN_ActivateNotification(can, FDCAN_IT_RX_FIFO0_NEW_MESSAGE, 0) != HAL_OK)
	 		 Error_Handler();
	 }else if(num == 1){
		 if (HAL_FDCAN_ActivateNotification(can, FDCAN_IT_RX_FIFO1_NEW_MESSAGE, 0) != HAL_OK)
			 		 Error_Handler();
	 }
}

void Filter_Init(FDCAN_FilterTypeDef* filter, uint8_t can_IdLen){

	if(can_IdLen == 11){
		filter->IdType = FDCAN_STANDARD_ID;
	}else if(can_IdLen == 29){
		filter->IdType = FDCAN_EXTENDED_ID;
	}

	filter->FilterIndex = 0;
	filter->FilterType = FDCAN_FILTER_MASK;
	filter->FilterConfig = FDCAN_FILTER_TO_RXFIFO0;
	filter->FilterID1 = 0x00;
	filter->FilterID2 = 0x00;
}

bool bufferFull(msg buffer[BUFFER_LEN]){
	uint8_t count = 0;

	for(int i = 0; i < 16; i++){
		if(buffer[i].flag == 1){ count++;}
	}

	return(count == 16);
}

bool bufferEmpty(msg buffer[BUFFER_LEN]){
	uint8_t count = 0;

	for(int i = 0; i < 16; i++){
		if(buffer[i].flag == 0){ count++;}
	}

	return(count == 16);
}

void Write_RingBuffer(){

	if(bufferFull(buffer)){
		printf("buffer full\n");

	}else{

		if(buffer[head].flag == 0){
				buffer[head].flag = 1; // this index is now full
				if(HAL_FDCAN_GetRxMessage(&hfdcan1, FDCAN_RX_FIFO0, &buffer[head].RxHeader, buffer[head].data) != HAL_OK)
						Error_Handler();
				buffer[head].hcount++;
				head = (head + 1) % BUFFER_LEN;

				}else{
					printf("buffer is still occupied\n");
				}

	}
}

void Read_RingBuffer(){

	if(bufferEmpty(buffer)){
		printf("buffer empty\n");

	}else{
		if(buffer[tail].flag == 1){
			buffer[tail].flag = 0; // index is now empty
		sort(buffer[tail]);
		buffer[tail].tcount++;
		tail = (tail + 1) % BUFFER_LEN;

		}else{
			printf("this slot is empty\n");
		}
	}
}

void sort(msg msg){

		uint32_t realLength = 0;
			switch(msg.RxHeader.DataLength) {
		    	case FDCAN_DLC_BYTES_0: realLength = 0; break;
		        case FDCAN_DLC_BYTES_1: realLength = 1; break;
		        case FDCAN_DLC_BYTES_2: realLength = 2; break;
		        case FDCAN_DLC_BYTES_3: realLength = 3; break;
		        case FDCAN_DLC_BYTES_4: realLength = 4; break;
		        case FDCAN_DLC_BYTES_5: realLength = 5; break;
		        case FDCAN_DLC_BYTES_6: realLength = 6; break;
		        case FDCAN_DLC_BYTES_7: realLength = 7; break;
		        case FDCAN_DLC_BYTES_8: realLength = 8; break;
		        default: realLength = 8; break;
		        }

		memset(generic,0x0,DATA_LEN);
		memcpy(generic,msg.data,realLength);

		if(msg.RxHeader.Identifier == FAULTS_ID_INV){
			if(msg.data[FAULTS_IND_INV] != 0x0){
				leds[0] |= (1 << FAULTS_CODE_INV);
				leds[1] = msg.data[FAULTS_IND_INV];

			}else{
				leds[0] &= ~((1 << FAULTS_CODE_INV));
				leds[1] = 0;
			}
		}

		genericTx.Identifier = msg.RxHeader.Identifier;

}

void HAL_FDCAN_RxFifo0Callback(FDCAN_HandleTypeDef *hfdcan, uint32_t RxFifo0ITs){

	if((RxFifo0ITs & FDCAN_IT_RX_FIFO0_NEW_MESSAGE) != 0){
		if(hfdcan->Instance == FDCAN1){
			Write_RingBuffer();

		}else if(hfdcan->Instance == FDCAN2){
			Write_RingBuffer_Buttons();
		}
	}
}

bool buffer_buttons_full(btns buffer[BUFFER_BTNS_LEN]){
	uint8_t count = 0;

		for(int i = 0; i < 16; i++){
			if(buffer[i].flag == 1){ count++;}
		}

		return(count == 16);
}

bool buffer_buttons_empty(btns buffer[BUFFER_BTNS_LEN]){
	uint8_t count = 0;

	for(int i = 0; i < 16; i++){
		if(buffer[i].flag == 0){ count++;}
	}

	return(count == 16);
}

void Write_RingBuffer_Buttons(){
	if(buffer_buttons_full(bufferButtons)){
		printf("buffer buttons is full\n");
	}else{
		if(bufferButtons[bhead].flag == 0){
			bufferButtons[bhead].flag = 1; // index is full now

		if(HAL_FDCAN_GetRxMessage(&hfdcan2, FDCAN_RX_FIFO0, &bufferButtons[bhead].RxHeader, bufferButtons[bhead].buttons) != HAL_OK)
			Error_Handler();

		bhead = (bhead + 1) % BUFFER_BTNS_LEN;
		}else printf("buttons buffer still occupied\n");
	}
}

void Read_RingBuffer_Buttons(){

	if(buffer_buttons_empty(bufferButtons)){
		printf("buffer buttons is empty\n");
	}else{
		if(bufferButtons[btail].flag == 1){
			bufferButtons[btail].flag = 0; //index is now empty
			memset(buttons,0x0,BUTTONS_LEN);
			memcpy(buttons,bufferButtons[btail].buttons,BUTTONS_LEN);

			ReadyToDriveBit = (buttons[0] >> IND_DRIVEENABLE) & 1; // stores drive enable in ready to drive bit

			btail = (btail + 1) % BUFFER_BTNS_LEN;
		}else printf("this index is empty\n");
	}
}

void ReadyToDrive(){

	if(ReadyToDriveBit == 0b1){
		if(brk1 >= PERCENTAGE_DRIVEENABLE && brk2 >= PERCENTAGE_DRIVEENABLE && flag == 0){
					driveEnable[0] = 0x01;
					flag = 1;

				}else if(brk1 >= PERCENTAGE_DRIVEENABLE && brk2 >= PERCENTAGE_DRIVEENABLE && flag == 1){
					driveEnable[0] = 0x00;
					flag = 0;
				}
			}
	if((HAL_GetTick() - prev2) >= INTERVAL_DRIVEENABLE){

		if(HAL_FDCAN_AddMessageToTxFifoQ(&hfdcan1, &ReadyToDriveTx, driveEnable) != HAL_OK)
						Error_Handler();

		prev2 = HAL_GetTick();
	}

}

/* USER CODE END 4 */

 /* MPU Configuration */

void MPU_Config(void)
{
  MPU_Region_InitTypeDef MPU_InitStruct = {0};

  /* Disables the MPU */
  HAL_MPU_Disable();

  /** Initializes and configures the Region and the memory to be protected
  */
  MPU_InitStruct.Enable = MPU_REGION_ENABLE;
  MPU_InitStruct.Number = MPU_REGION_NUMBER0;
  MPU_InitStruct.BaseAddress = 0x0;
  MPU_InitStruct.Size = MPU_REGION_SIZE_4GB;
  MPU_InitStruct.SubRegionDisable = 0x87;
  MPU_InitStruct.TypeExtField = MPU_TEX_LEVEL0;
  MPU_InitStruct.AccessPermission = MPU_REGION_NO_ACCESS;
  MPU_InitStruct.DisableExec = MPU_INSTRUCTION_ACCESS_DISABLE;
  MPU_InitStruct.IsShareable = MPU_ACCESS_SHAREABLE;
  MPU_InitStruct.IsCacheable = MPU_ACCESS_NOT_CACHEABLE;
  MPU_InitStruct.IsBufferable = MPU_ACCESS_NOT_BUFFERABLE;

  HAL_MPU_ConfigRegion(&MPU_InitStruct);
  /* Enables the MPU */
  HAL_MPU_Enable(MPU_PRIVILEGED_DEFAULT);

}

void Error_Handler(void)
{
  __disable_irq();
  while (1)
  {
  }
}
